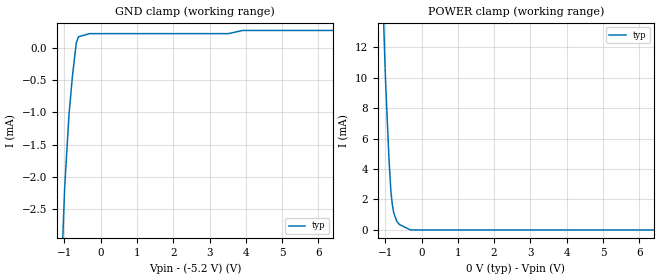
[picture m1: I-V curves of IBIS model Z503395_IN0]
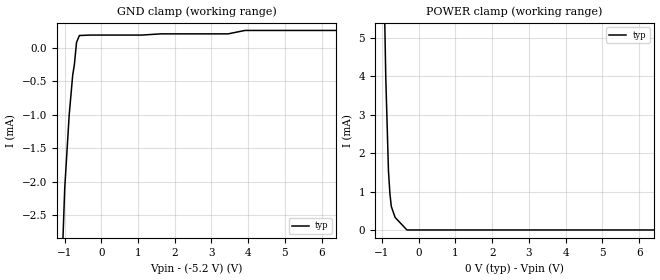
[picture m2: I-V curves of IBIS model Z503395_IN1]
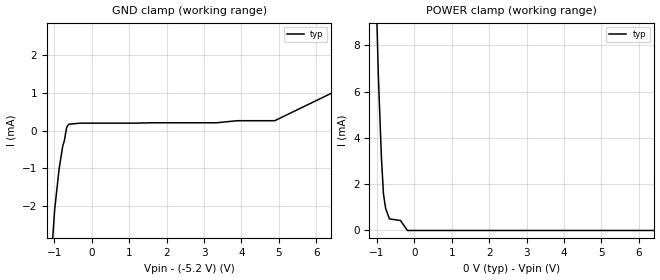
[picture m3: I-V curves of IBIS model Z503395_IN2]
| YOU ARE ONLY AUTHORIZED TO USE THIS SOFTWARE
| ACCORDING TO LICENSOR'S LICENSE RESTRICTIONS.
[IBIS Ver] 3.1
[File Name] mc100h643fn.ibs
[File Rev] 2.0
[Source] Measured and created by ICX Technology
[Date] Friday 7/14/00 9:07:48 AM
[Copyright]
| (C) COPYRIGHT 1993-2000
| MENTOR GRAPHICS CORPORATION
| ICX STANDARD LIBRARY, ICX PROJECT MODELING,
| ICX CUSTOM MODELING, ICX VENDOR MODEL
| ALL RIGHTS RESERVED.
| THE FOLLOWING ARE TRADEMARKS OR SERVICE MARKS OF
| MENTOR GRAPHICS CORPORATION:ICX (R), ICX STANDARD
| LIBRARY(R), ICX PROJECT MODELING(R), ICX CUSTOM
| MODELING(R), qualityIBIS(TM), MODELVIEWER(TM),
| AND MODELEDITOR(TM)
| ALL COPIES OF SOFTWARE, INCLUDING BUT NOT LIMITED TO
| ANY MODIFICATIONS, ENHANCEMENTS OR DERIVATIVE WORKS,
| MUST CONTAIN ALL MENTOR GRAPHICS CORPORATION'S
| NOTICES AND LEGENDS, INCLUDING THOSE EMBEDDED IN
| SOFTWARE AND THOSE AFFIXED TO SOFTWARE MEDIUM
| AND CONTAINER, AS RECEIVED FROM MENTOR GRAPHICS
| CORPORATION.
|  ZAP Model Builder 2.7
[Component] MC100H643FN
[Manufacturer] OnSemiconductor
[Package]
| variable   typ   min   max
R_pkg  .083ohms NA NA
L_pkg  4.299nH NA NA
C_pkg  1.045pF NA NA
[Pin] signal_name  model_name  R_pin  L_pin C_pin
1 OVT1 POWER .08 3.94n .925p
2 Q1 Z503395_OUT0 .082 4.14n .995p
3 OGND1 GND .084 4.354n 1.065p
4 Q0 Z503395_OUT1 .086 4.583n 1.135p
5 IVT1 POWER .086 4.583n 1.135p
6 IGND1 GND .084 4.354n 1.065p
7 VEE POWER .082 4.14n .995p
8 VEE POWER .08 3.94n .925p
9 VEE POWER .082 4.14n .995p
10 _EN Z503395_IN0 .084 4.354n 1.065p
11 D Z503395_IN1 .086 4.583n 1.135p
12 _D Z503395_IN1 .086 4.583n 1.135p
13 VBB POWER .084 4.354n 1.065p
14 LEN Z503395_IN2 .082 4.14n .995p
15 VCCE GND .08 3.94n .925p
16 VCCE GND .082 4.14n .995p
17 IGND2 GND .084 4.354n 1.065p
18 IVT2 POWER .086 4.583n 1.135p
19 Q7 Z503395_OUT0 .086 4.583n 1.135p
20 _P_eq_Q Z503395_OUT1 .084 4.354n 1.065p
21 Q6 Z503395_OUT0 .082 4.14n .995p
22 OVT2 POWER .08 3.94n .925p
23 Q5 Z503395_OUT0 .082 4.14n .995p
24 OGND3 GND .084 4.354n 1.065p
25 Q4 Z503395_OUT0 .086 4.583n 1.135p
26 Q3 Z503395_OUT0 .086 4.583n 1.135p
27 OGND2 GND .084 4.354n 1.065p
28 Q2 Z503395_OUT0 .082 4.14n .995p
| Models and submodels in the file (5): Z503395_IN0 (Input_ECL), Z503395_IN1 (Input_ECL), Z503395_IN2 (Input_ECL), Z503395_OUT0 (Output), Z503395_OUT1 (Output)
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| (C) COPYRIGHT 1993-2000
| MENTOR GRAPHICS CORPORATION
| ICX STANDARD LIBRARY, ICX PROJECT MODELING,
| ICX CUSTOM MODELING, ICX VENDOR MODEL
| ALL RIGHTS RESERVED.
| THE FOLLOWING ARE TRADEMARKS OR SERVICE MARKS OF
| MENTOR GRAPHICS CORPORATION:ICX (R), ICX STANDARD
| LIBRARY(R), ICX PROJECT MODELING(R), ICX CUSTOM
| MODELING(R), qualityIBIS(TM), MODELVIEWER(TM),
| AND MODELEDITOR(TM)
| ALL COPIES OF SOFTWARE, INCLUDING BUT NOT LIMITED TO
| ANY MODIFICATIONS, ENHANCEMENTS OR DERIVATIVE WORKS,
| MUST CONTAIN ALL MENTOR GRAPHICS CORPORATION'S
| NOTICES AND LEGENDS, INCLUDING THOSE EMBEDDED IN
| SOFTWARE AND THOSE AFFIXED TO SOFTWARE MEDIUM
| AND CONTAINER, AS RECEIVED FROM MENTOR GRAPHICS
| CORPORATION.
| Model Application Version 1.89 2/18/99.
[Model] Z503395_IN0
Model_type Input_ECL
Vinl = -1.475V
Vinh = -1.165V
C_comp 4.000pF NA NA
| variable typ   min   max
[Voltage Range] -5.200V NA NA
[GND Clamp Reference] -5.200V NA NA
[POWER Clamp Reference] 0.000V NA NA
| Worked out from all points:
|   GND clamp passes 1 mA (typ) near -0.87 V on its own axis
|   POWER clamp passes 1 mA (typ) near -0.75 V on its own axis
[GND Clamp]
-5.2V     -176.8mA   NA         NA
-1.128V   -4.164mA   NA         NA
-995mV    -2.177mA   NA         NA
-874mV    -1.029mA   NA         NA
-777mV    -424.7uA   NA         NA
-674mV    67.93uA    NA         NA
-616mV    166.1uA    NA         NA
-308mV    214.5uA    NA         NA
3.518V    214.5uA    NA         NA
3.913V    263.7uA    NA         NA
10.4V     263.7uA    NA         NA
[POWER Clamp]
-5.2V     731.2mA    NA         NA
-1.104V   17.99mA    NA         NA
-996.1mV  10.04mA    NA         NA
-898.6mV  4.673mA    NA         NA
-844mV    2.522mA    NA         NA
-805.4mV  1.643mA    NA         NA
-766.6mV  1.125mA    NA         NA
-683.7mV  574.3uA    NA         NA
-607.2mV  354.8uA    NA         NA
-303.6mV  0A         NA         NA
10.4V     0A         NA         NA
| (C) COPYRIGHT 1993-2000
| MENTOR GRAPHICS CORPORATION
| ICX STANDARD LIBRARY, ICX PROJECT MODELING,
| ICX CUSTOM MODELING, ICX VENDOR MODEL
| ALL RIGHTS RESERVED.
| THE FOLLOWING ARE TRADEMARKS OR SERVICE MARKS OF
| MENTOR GRAPHICS CORPORATION:ICX (R), ICX STANDARD
| LIBRARY(R), ICX PROJECT MODELING(R), ICX CUSTOM
| MODELING(R), qualityIBIS(TM), MODELVIEWER(TM),
| AND MODELEDITOR(TM)
| ALL COPIES OF SOFTWARE, INCLUDING BUT NOT LIMITED TO
| ANY MODIFICATIONS, ENHANCEMENTS OR DERIVATIVE WORKS,
| MUST CONTAIN ALL MENTOR GRAPHICS CORPORATION'S
| NOTICES AND LEGENDS, INCLUDING THOSE EMBEDDED IN
| SOFTWARE AND THOSE AFFIXED TO SOFTWARE MEDIUM
| AND CONTAINER, AS RECEIVED FROM MENTOR GRAPHICS
| CORPORATION.
| Model Application Version 1.89 2/18/99.
[Model] Z503395_IN1
Model_type Input_ECL
Vinl = -1.475V
Vinh = -1.165V
C_comp 4.000pF NA NA
| variable typ   min   max
[Voltage Range] -5.200V NA NA
[GND Clamp Reference] -5.200V NA NA
[POWER Clamp Reference] 0.000V NA NA
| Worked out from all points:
|   GND clamp passes 1 mA (typ) near -0.87 V on its own axis
|   POWER clamp passes 1 mA (typ) near -0.79 V on its own axis
[GND Clamp]
-5.2V     -173.3mA   NA         NA
-1.148V   -4.474mA   NA         NA
-995mV    -2.101mA   NA         NA
-874mV    -1.01mA    NA         NA
-777mV    -406.8uA   NA         NA
-733mV    -258.8uA   NA         NA
-674mV    76.51uA    NA         NA
-596mV    179.8uA    NA         NA
1.62V     204.4uA    NA         NA
3.454V    204.4uA    NA         NA
3.913V    255.3uA    NA         NA
10.4V     255.3uA    NA         NA
[POWER Clamp]
-5.2V     635.7mA    NA         NA
-1.016V   10.13mA    NA         NA
-898.7mV  3.985mA    NA         NA
-825.2mV  1.538mA    NA         NA
-786mV    947.7uA    NA         NA
-747.1mV  609.3uA    NA         NA
-644.6mV  327.4uA    NA         NA
-322.3mV  0A         NA         NA
10.4V     0A         NA         NA
| (C) COPYRIGHT 1993-2000
| MENTOR GRAPHICS CORPORATION
| ICX STANDARD LIBRARY, ICX PROJECT MODELING,
| ICX CUSTOM MODELING, ICX VENDOR MODEL
| ALL RIGHTS RESERVED.
| THE FOLLOWING ARE TRADEMARKS OR SERVICE MARKS OF
| MENTOR GRAPHICS CORPORATION:ICX (R), ICX STANDARD
| LIBRARY(R), ICX PROJECT MODELING(R), ICX CUSTOM
| MODELING(R), qualityIBIS(TM), MODELVIEWER(TM),
| AND MODELEDITOR(TM)
| ALL COPIES OF SOFTWARE, INCLUDING BUT NOT LIMITED TO
| ANY MODIFICATIONS, ENHANCEMENTS OR DERIVATIVE WORKS,
| MUST CONTAIN ALL MENTOR GRAPHICS CORPORATION'S
| NOTICES AND LEGENDS, INCLUDING THOSE EMBEDDED IN
| SOFTWARE AND THOSE AFFIXED TO SOFTWARE MEDIUM
| AND CONTAINER, AS RECEIVED FROM MENTOR GRAPHICS
| CORPORATION.
| Model Application Version 1.89 2/18/99.
[Model] Z503395_IN2
Model_type Input_ECL
Vinl = -1.475V
Vinh = -1.165V
C_comp 4.000pF NA NA
| variable typ   min   max
[Voltage Range] -5.200V NA NA
[GND Clamp Reference] -5.200V NA NA
[POWER Clamp Reference] 0.000V NA NA
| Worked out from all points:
|   GND clamp passes 1 mA (typ) near -0.87 V on its own axis
|   POWER clamp passes 1 mA (typ) near -0.77 V on its own axis
[GND Clamp]
-5.2V     -181.5mA   NA         NA
-1.109V   -3.778mA   NA         NA
-994mV    -2.122mA   NA         NA
-874mV    -1.02mA    NA         NA
-777mV    -415uA     NA         NA
-733mV    -268.3uA   NA         NA
-674mV    75.94uA    NA         NA
-616mV    167.6uA    NA         NA
3.334V    206.4uA    NA         NA
3.893V    261.3uA    NA         NA
4.89V     261.3uA    NA         NA
10.4V     2.917mA    NA         NA
[POWER Clamp]
-5.2V     623.3mA    NA         NA
-1.089V   14.5mA     NA         NA
-960mV    6.649mA    NA         NA
-879.4mV  3.177mA    NA         NA
-824.6mV  1.589mA    NA         NA
-766.6mV  954.7uA    NA         NA
-664.1mV  500.1uA    NA         NA
-369.4mV  431.1uA    NA         NA
-184.7mV  0A         NA         NA
10.4V     0A         NA         NA
